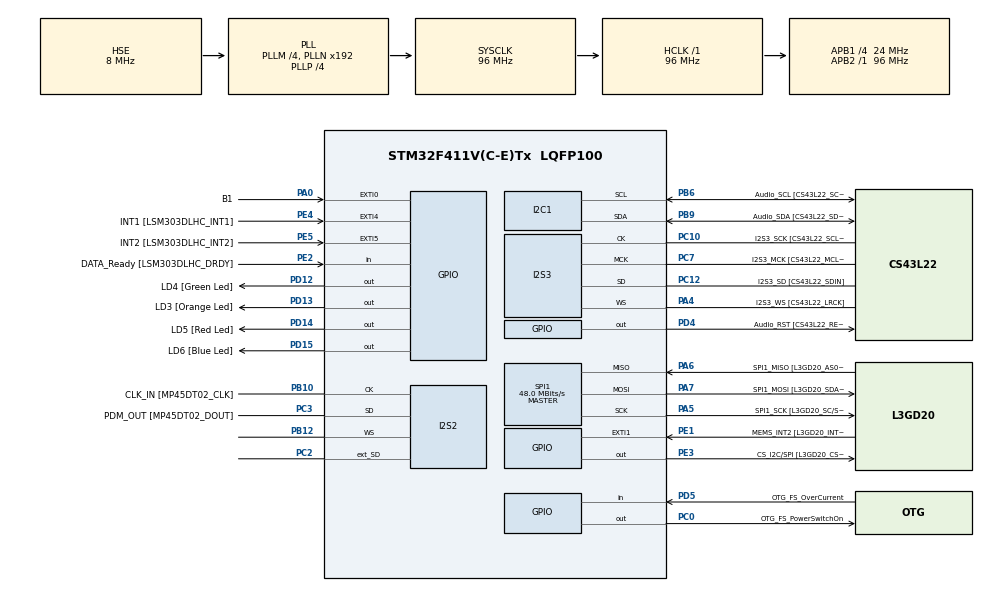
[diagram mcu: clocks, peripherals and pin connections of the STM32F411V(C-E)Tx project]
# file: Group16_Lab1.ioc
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I2S2.AudioFreq=I2S_AUDIOFREQ_96K
I2S2.ErrorAudioFreq=0.15 %
I2S2.FullDuplexMode=I2S_FULLDUPLEXMODE_ENABLE
I2S2.Instance=SPI$Index
I2S2.RealAudioFreq=96.153 KHz
I2S2.VirtualMode=I2S_MODE_MASTER
I2S3.AudioFreq=I2S_AUDIOFREQ_96K
I2S3.ErrorAudioFreq=-6.99 %
I2S3.FullDuplexMode=I2S_FULLDUPLEXMODE_DISABLE
I2S3.Instance=SPI$Index
I2S3.RealAudioFreq=89.285 KHz
I2S3.VirtualMode=I2S_MODE_MASTER
Mcu.Family=STM32F4
Mcu.Name=STM32F411V(C-E)Tx
Mcu.Package=LQFP100
NVIC.PriorityGroup=NVIC_PRIORITYGROUP_0
PA0-WKUP.GPIO_Label=B1
PA0-WKUP.GPIO_ModeDefaultEXTI=GPIO_MODE_EVT_RISING
PA0-WKUP.Signal=GPXTI0
PA10.GPIO_Label=OTG_FS_ID
PA10.Signal=USB_OTG_FS_ID
PA11.GPIO_Label=OTG_FS_DM
PA11.Signal=USB_OTG_FS_DM
PA12.GPIO_Label=OTG_FS_DP
PA12.Signal=USB_OTG_FS_DP
PA13.GPIO_Label=SWDIO
PA13.Mode=Serial_Wire
PA13.Signal=SYS_JTMS-SWDIO
PA14.GPIO_Label=SWCLK
PA14.Mode=Serial_Wire
PA14.Signal=SYS_JTCK-SWCLK
PA4.GPIO_Label=I2S3_WS [CS43L22_LRCK]
PA4.GPIO_Mode=GPIO_MODE_AF_PP
PA4.GPIO_PuPd=GPIO_NOPULL
PA4.GPIO_Speed=GPIO_SPEED_FREQ_LOW
PA4.Mode=Half_Duplex_Master
PA4.Signal=I2S3_WS
PA5.GPIO_Label=SPI1_SCK [L3GD20_SC/SPC]
PA5.Mode=Full_Duplex_Master
PA5.Signal=SPI1_SCK
PA6.GPIO_Label=SPI1_MISO [L3GD20_AS0/SDO]
PA6.Mode=Full_Duplex_Master
PA6.Signal=SPI1_MISO
PA7.GPIO_Label=SPI1_MOSI [L3GD20_SDA/SDI/SDO]
PA7.Mode=Full_Duplex_Master
PA7.Signal=SPI1_MOSI
PA9.GPIO_Label=VBUS_FS
PA9.Signal=USB_OTG_FS_VBUS
PB10.GPIO_Label=CLK_IN [MP45DT02_CLK]
PB10.Mode=Full_Duplex_Master
PB10.Signal=I2S2_CK
PB12.Mode=Full_Duplex_Master
PB12.Signal=I2S2_WS
PB3.GPIO_Label=SWO
PB3.Signal=SYS_JTDO-SWO
PB6.GPIO_Label=Audio_SCL [CS43L22_SCL]
PB6.GPIO_Mode=GPIO_MODE_AF_OD
PB6.GPIO_Pu=GPIO_PULLUP
PB6.GPIO_PuPd=GPIO_NOPULL
PB6.GPIO_Speed=GPIO_SPEED_FREQ_LOW
PB6.Mode=I2C
PB6.Signal=I2C1_SCL
PB9.GPIO_Label=Audio_SDA [CS43L22_SDA]
PB9.GPIO_Mode=GPIO_MODE_AF_OD
PB9.GPIO_Pu=GPIO_PULLUP
PB9.GPIO_PuPd=GPIO_NOPULL
PB9.GPIO_Speed=GPIO_SPEED_FREQ_LOW
PB9.Mode=I2C
PB9.Signal=I2C1_SDA
PC0.GPIO_Label=OTG_FS_PowerSwitchOn
PC0.PinState=GPIO_PIN_SET
PC0.Signal=GPIO_Output
PC10.GPIO_Label=I2S3_SCK [CS43L22_SCLK]
PC10.GPIO_Mode=GPIO_MODE_AF_PP
PC10.GPIO_PuPd=GPIO_NOPULL
PC10.GPIO_Speed=GPIO_SPEED_FREQ_LOW
PC10.Mode=Half_Duplex_Master
PC10.Signal=I2S3_CK
PC12.GPIO_Label=I2S3_SD [CS43L22_SDIN]
PC12.GPIO_Mode=GPIO_MODE_AF_PP
PC12.GPIO_PuPd=GPIO_NOPULL
PC12.GPIO_Speed=GPIO_SPEED_FREQ_LOW
PC12.Mode=Half_Duplex_Master
PC12.Signal=I2S3_SD
PC14-OSC32_IN.GPIO_Label=PC14-OSC32_IN
PC14-OSC32_IN.Mode=LSE-External-Oscillator
PC14-OSC32_IN.Signal=RCC_OSC32_IN
PC15-OSC32_OUT.GPIO_Label=PC15-OSC32_OUT
PC15-OSC32_OUT.Mode=LSE-External-Oscillator
PC15-OSC32_OUT.Signal=RCC_OSC32_OUT
PC2.Mode=Full_Duplex_Master
PC2.Signal=I2S2_ext_SD
PC3.GPIO_Label=PDM_OUT [MP45DT02_DOUT]
PC3.Mode=Full_Duplex_Master
PC3.Signal=I2S2_SD
PC7.GPIO_Label=I2S3_MCK [CS43L22_MCLK]
PC7.GPIO_Mode=GPIO_MODE_AF_PP
PC7.GPIO_PuPd=GPIO_NOPULL
PC7.GPIO_Speed=GPIO_SPEED_FREQ_LOW
PC7.Mode=Master_Clock_Activated
PC7.Signal=I2S3_MCK
PD12.GPIO_Label=LD4 [Green Led]
PD12.GPIO_PuPd=GPIO_NOPULL
PD12.GPIO_Speed=GPIO_SPEED_FREQ_LOW
PD12.Signal=GPIO_Output
PD13.GPIO_Label=LD3 [Orange Led]
PD13.GPIO_PuPd=GPIO_NOPULL
PD13.GPIO_Speed=GPIO_SPEED_FREQ_LOW
PD13.Signal=GPIO_Output
PD14.GPIO_Label=LD5 [Red Led]
PD14.GPIO_PuPd=GPIO_NOPULL
PD14.GPIO_Speed=GPIO_SPEED_FREQ_LOW
PD14.Signal=GPIO_Output
PD15.GPIO_Label=LD6 [Blue Led]
PD15.GPIO_PuPd=GPIO_NOPULL
PD15.GPIO_Speed=GPIO_SPEED_FREQ_LOW
PD15.Signal=GPIO_Output
PD4.GPIO_Label=Audio_RST [CS43L22_RESET]
PD4.Signal=GPIO_Output
PD5.GPIO_Label=OTG_FS_OverCurrent
PD5.Signal=GPIO_Input
PE1.GPIO_Label=MEMS_INT2 [L3GD20_INT2]
PE1.GPIO_ModeDefaultEXTI=GPIO_MODE_EVT_RISING
PE1.Signal=GPXTI1
PE2.GPIO_Label=DATA_Ready [LSM303DLHC_DRDY]
PE2.Signal=GPIO_Input
PE3.GPIO_Label=CS_I2C/SPI [L3GD20_CS_I2C/SPI]
PE3.Signal=GPIO_Output
PE4.GPIO_Label=INT1 [LSM303DLHC_INT1]
PE4.GPIO_ModeDefaultEXTI=GPIO_MODE_EVT_RISING
PE4.Signal=GPXTI4
PE5.GPIO_Label=INT2 [LSM303DLHC_INT2]
PE5.GPIO_ModeDefaultEXTI=GPIO_MODE_EVT_RISING
PE5.Signal=GPXTI5
PH0\ -\ OSC_IN.GPIO_Label=PH0-OSC_IN
PH0\ -\ OSC_IN.Mode=HSE-External-Oscillator
PH0\ -\ OSC_IN.Signal=RCC_OSC_IN
PH1\ -\ OSC_OUT.GPIO_Label=PH1-OSC_OUT
PH1\ -\ OSC_OUT.Mode=HSE-External-Oscillator
PH1\ -\ OSC_OUT.Signal=RCC_OSC_OUT
ProjectManager.HeapSize=0x200
ProjectManager.StackSize=0x400
ProjectManager.TargetToolchain=STM32CubeIDE
RCC.48MHZClocksFreq_Value=48000000
RCC.AHBFreq_Value=96000000
RCC.APB1CLKDivider=RCC_HCLK_DIV4
RCC.APB1Freq_Value=24000000
RCC.APB1TimFreq_Value=48000000
RCC.APB2Freq_Value=96000000
RCC.APB2TimFreq_Value=96000000
RCC.CortexFreq_Value=96000000
RCC.HCLKFreq_Value=96000000
RCC.HSE_VALUE=8000000
RCC.HSI_VALUE=16000000
RCC.PLLI2SM=5
RCC.PLLI2SN=200
RCC.PLLM=4
RCC.PLLP=RCC_PLLP_DIV4
RCC.PLLQ=8
RCC.PLLSourceVirtual=RCC_PLLSOURCE_HSE
RCC.SYSCLKFreq_VALUE=96000000
RCC.SYSCLKSource=RCC_SYSCLKSOURCE_PLLCLK
RCC.VCOOutputFreq_Value=384000000
SPI1.BaudRatePrescaler=SPI_BAUDRATEPRESCALER_2
SPI1.CalculateBaudRate=48.0 MBits/s
SPI1.Direction=SPI_DIRECTION_2LINES
SPI1.Mode=SPI_MODE_MASTER
SPI1.VirtualType=VM_MASTER
board=STM32F411E-DISCO

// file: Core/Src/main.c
/* USER CODE BEGIN Header */
/**
  ******************************************************************************
  * @file           : main.c
  * @brief          : Main program body
  ******************************************************************************
  * @attention
  *
  * Copyright (c) 2025 STMicroelectronics.
  * All rights reserved.
  *
  * This software is licensed under terms that can be found in the LICENSE file
  * in the root directory of this software component.
  * If no LICENSE file comes with this software, it is provided AS-IS.
  *
  ******************************************************************************
  */
/* USER CODE END Header */
#include "main.h"
#include "arm_math.h"

/* USER CODE BEGIN PD */
#define ITM_Port32(n) (*((volatile unsigned long *)(0xE0000000+4*n)))

#define FFT_Length 1024
/* USER CODE END PD */

I2C_HandleTypeDef hi2c1;

I2S_HandleTypeDef hi2s2;
I2S_HandleTypeDef hi2s3;

SPI_HandleTypeDef hspi1;

/* USER CODE BEGIN PV */
float32_t FFT_Input_Q15_f[50];
float32_t aFFT_Input_Q15[50];

/* USER CODE END PV */

void SystemClock_Config(void);
void PeriphCommonClock_Config(void);
static void MX_GPIO_Init(void);
static void MX_I2C1_Init(void);
static void MX_I2S2_Init(void);
static void MX_I2S3_Init(void);
static void MX_SPI1_Init(void);

int main(void)
{

  /* MCU Configuration--------------------------------------------------------*/

  /* Reset of all peripherals, Initializes the Flash interface and the Systick. */
  HAL_Init();

  /* Configure the system clock */
  SystemClock_Config();

/* Configure the peripherals common clocks */
  PeriphCommonClock_Config();

  /* Initialize all configured peripherals */
  MX_GPIO_Init();
  MX_I2C1_Init();
  MX_I2S2_Init();
  MX_I2S3_Init();
  MX_SPI1_Init();
  /* USER CODE BEGIN 2 */

  HAL_SuspendTick();
  printf(" Dominic Choi\nNathan Ante\nJan 30, 2025\nA Short Joke\n");

//  BasicLoopTest();

  /* USER CODE END 2 */

  /* Infinite loop */
  /* USER CODE BEGIN WHILE */
  while (1)
  {

	ITM_Port32(31) = 1;
  // FloatingExperiment();
  // FixedExperiment();
  CMSISExperiment();
	ITM_Port32(31) = 2;

    /* USER CODE END WHILE */

  }
}

void SystemClock_Config(void)
{
  RCC_OscInitTypeDef RCC_OscInitStruct = {0};
  RCC_ClkInitTypeDef RCC_ClkInitStruct = {0};

  /** Configure the main internal regulator output voltage
  */
  __HAL_RCC_PWR_CLK_ENABLE();
  __HAL_PWR_VOLTAGESCALING_CONFIG(PWR_REGULATOR_VOLTAGE_SCALE1);

  /** Initializes the RCC Oscillators according to the specified parameters
  * in the RCC_OscInitTypeDef structure.
  */
  RCC_OscInitStruct.OscillatorType = RCC_OSCILLATORTYPE_HSE;
  RCC_OscInitStruct.HSEState = RCC_HSE_ON;
  RCC_OscInitStruct.PLL.PLLState = RCC_PLL_ON;
  RCC_OscInitStruct.PLL.PLLSource = RCC_PLLSOURCE_HSE;
  RCC_OscInitStruct.PLL.PLLM = 4;
  RCC_OscInitStruct.PLL.PLLN = 192;
  RCC_OscInitStruct.PLL.PLLP = RCC_PLLP_DIV4;
  RCC_OscInitStruct.PLL.PLLQ = 8;
  if (HAL_RCC_OscConfig(&RCC_OscInitStruct) != HAL_OK)
  {
    Error_Handler();
  }

  /** Initializes the CPU, AHB and APB buses clocks
  */
  RCC_ClkInitStruct.ClockType = RCC_CLOCKTYPE_HCLK|RCC_CLOCKTYPE_SYSCLK
                              |RCC_CLOCKTYPE_PCLK1|RCC_CLOCKTYPE_PCLK2;
  RCC_ClkInitStruct.SYSCLKSource = RCC_SYSCLKSOURCE_PLLCLK;
  RCC_ClkInitStruct.AHBCLKDivider = RCC_SYSCLK_DIV1;
  RCC_ClkInitStruct.APB1CLKDivider = RCC_HCLK_DIV4;
  RCC_ClkInitStruct.APB2CLKDivider = RCC_HCLK_DIV1;

  if (HAL_RCC_ClockConfig(&RCC_ClkInitStruct, FLASH_LATENCY_3) != HAL_OK)
  {
    Error_Handler();
  }
}

void PeriphCommonClock_Config(void)
{
  RCC_PeriphCLKInitTypeDef PeriphClkInitStruct = {0};

  /** Initializes the peripherals clock
  */
  PeriphClkInitStruct.PeriphClockSelection = RCC_PERIPHCLK_I2S;
  PeriphClkInitStruct.PLLI2S.PLLI2SN = 200;
  PeriphClkInitStruct.PLLI2S.PLLI2SM = 5;
  PeriphClkInitStruct.PLLI2S.PLLI2SR = 2;
  if (HAL_RCCEx_PeriphCLKConfig(&PeriphClkInitStruct) != HAL_OK)
  {
    Error_Handler();
  }
}

static void MX_I2C1_Init(void)
{

  hi2c1.Instance = I2C1;
  hi2c1.Init.ClockSpeed = 100000;
  hi2c1.Init.DutyCycle = I2C_DUTYCYCLE_2;
  hi2c1.Init.OwnAddress1 = 0;
  hi2c1.Init.AddressingMode = I2C_ADDRESSINGMODE_7BIT;
  hi2c1.Init.DualAddressMode = I2C_DUALADDRESS_DISABLE;
  hi2c1.Init.OwnAddress2 = 0;
  hi2c1.Init.GeneralCallMode = I2C_GENERALCALL_DISABLE;
  hi2c1.Init.NoStretchMode = I2C_NOSTRETCH_DISABLE;
  if (HAL_I2C_Init(&hi2c1) != HAL_OK)
  {
    Error_Handler();
  }

}

static void MX_I2S2_Init(void)
{

  hi2s2.Instance = SPI2;
  hi2s2.Init.Mode = I2S_MODE_MASTER_TX;
  hi2s2.Init.Standard = I2S_STANDARD_PHILIPS;
  hi2s2.Init.DataFormat = I2S_DATAFORMAT_16B;
  hi2s2.Init.MCLKOutput = I2S_MCLKOUTPUT_DISABLE;
  hi2s2.Init.AudioFreq = I2S_AUDIOFREQ_96K;
  hi2s2.Init.CPOL = I2S_CPOL_LOW;
  hi2s2.Init.ClockSource = I2S_CLOCK_PLL;
  hi2s2.Init.FullDuplexMode = I2S_FULLDUPLEXMODE_ENABLE;
  if (HAL_I2S_Init(&hi2s2) != HAL_OK)
  {
    Error_Handler();
  }

}

static void MX_I2S3_Init(void)
{

  hi2s3.Instance = SPI3;
  hi2s3.Init.Mode = I2S_MODE_MASTER_TX;
  hi2s3.Init.Standard = I2S_STANDARD_PHILIPS;
  hi2s3.Init.DataFormat = I2S_DATAFORMAT_16B;
  hi2s3.Init.MCLKOutput = I2S_MCLKOUTPUT_ENABLE;
  hi2s3.Init.AudioFreq = I2S_AUDIOFREQ_96K;
  hi2s3.Init.CPOL = I2S_CPOL_LOW;
  hi2s3.Init.ClockSource = I2S_CLOCK_PLL;
  hi2s3.Init.FullDuplexMode = I2S_FULLDUPLEXMODE_DISABLE;
  if (HAL_I2S_Init(&hi2s3) != HAL_OK)
  {
    Error_Handler();
  }

}

static void MX_SPI1_Init(void)
{

  /* SPI1 parameter configuration*/
  hspi1.Instance = SPI1;
  hspi1.Init.Mode = SPI_MODE_MASTER;
  hspi1.Init.Direction = SPI_DIRECTION_2LINES;
  hspi1.Init.DataSize = SPI_DATASIZE_8BIT;
  hspi1.Init.CLKPolarity = SPI_POLARITY_LOW;
  hspi1.Init.CLKPhase = SPI_PHASE_1EDGE;
  hspi1.Init.NSS = SPI_NSS_SOFT;
  hspi1.Init.BaudRatePrescaler = SPI_BAUDRATEPRESCALER_2;
  hspi1.Init.FirstBit = SPI_FIRSTBIT_MSB;
  hspi1.Init.TIMode = SPI_TIMODE_DISABLE;
  hspi1.Init.CRCCalculation = SPI_CRCCALCULATION_DISABLE;
  hspi1.Init.CRCPolynomial = 10;
  if (HAL_SPI_Init(&hspi1) != HAL_OK)
  {
    Error_Handler();
  }

}

static void MX_GPIO_Init(void)
{
  GPIO_InitTypeDef GPIO_InitStruct = {0};

  /* GPIO Ports Clock Enable */
  __HAL_RCC_GPIOE_CLK_ENABLE();
  __HAL_RCC_GPIOC_CLK_ENABLE();
  __HAL_RCC_GPIOH_CLK_ENABLE();
  __HAL_RCC_GPIOA_CLK_ENABLE();
  __HAL_RCC_GPIOB_CLK_ENABLE();
  __HAL_RCC_GPIOD_CLK_ENABLE();

  /*Configure GPIO pin Output Level */
  HAL_GPIO_WritePin(CS_I2C_SPI_GPIO_Port, CS_I2C_SPI_Pin, GPIO_PIN_RESET);

  /*Configure GPIO pin Output Level */
  HAL_GPIO_WritePin(OTG_FS_PowerSwitchOn_GPIO_Port, OTG_FS_PowerSwitchOn_Pin, GPIO_PIN_SET);

  /*Configure GPIO pin Output Level */
  HAL_GPIO_WritePin(GPIOD, LD4_Pin|LD3_Pin|LD5_Pin|LD6_Pin
                          |Audio_RST_Pin, GPIO_PIN_RESET);

  /*Configure GPIO pin : DATA_Ready_Pin */
  GPIO_InitStruct.Pin = DATA_Ready_Pin;
  GPIO_InitStruct.Mode = GPIO_MODE_INPUT;
  GPIO_InitStruct.Pull = GPIO_NOPULL;
  HAL_GPIO_Init(DATA_Ready_GPIO_Port, &GPIO_InitStruct);

  /*Configure GPIO pin : CS_I2C_SPI_Pin */
  GPIO_InitStruct.Pin = CS_I2C_SPI_Pin;
  GPIO_InitStruct.Mode = GPIO_MODE_OUTPUT_PP;
  GPIO_InitStruct.Pull = GPIO_NOPULL;
  GPIO_InitStruct.Speed = GPIO_SPEED_FREQ_LOW;
  HAL_GPIO_Init(CS_I2C_SPI_GPIO_Port, &GPIO_InitStruct);

  /*Configure GPIO pins : INT1_Pin INT2_Pin MEMS_INT2_Pin */
  GPIO_InitStruct.Pin = INT1_Pin|INT2_Pin|MEMS_INT2_Pin;
  GPIO_InitStruct.Mode = GPIO_MODE_EVT_RISING;
  GPIO_InitStruct.Pull = GPIO_NOPULL;
  HAL_GPIO_Init(GPIOE, &GPIO_InitStruct);

  /*Configure GPIO pin : OTG_FS_PowerSwitchOn_Pin */
  GPIO_InitStruct.Pin = OTG_FS_PowerSwitchOn_Pin;
  GPIO_InitStruct.Mode = GPIO_MODE_OUTPUT_PP;
  GPIO_InitStruct.Pull = GPIO_NOPULL;
  GPIO_InitStruct.Speed = GPIO_SPEED_FREQ_LOW;
  HAL_GPIO_Init(OTG_FS_PowerSwitchOn_GPIO_Port, &GPIO_InitStruct);

  /*Configure GPIO pin : B1_Pin */
  GPIO_InitStruct.Pin = B1_Pin;
  GPIO_InitStruct.Mode = GPIO_MODE_EVT_RISING;
  GPIO_InitStruct.Pull = GPIO_NOPULL;
  HAL_GPIO_Init(B1_GPIO_Port, &GPIO_InitStruct);

  /*Configure GPIO pins : LD4_Pin LD3_Pin LD5_Pin LD6_Pin
                           Audio_RST_Pin */
  GPIO_InitStruct.Pin = LD4_Pin|LD3_Pin|LD5_Pin|LD6_Pin
                          |Audio_RST_Pin;
  GPIO_InitStruct.Mode = GPIO_MODE_OUTPUT_PP;
  GPIO_InitStruct.Pull = GPIO_NOPULL;
  GPIO_InitStruct.Speed = GPIO_SPEED_FREQ_LOW;
  HAL_GPIO_Init(GPIOD, &GPIO_InitStruct);

  /*Configure GPIO pin : VBUS_FS_Pin */
  GPIO_InitStruct.Pin = VBUS_FS_Pin;
  GPIO_InitStruct.Mode = GPIO_MODE_INPUT;
  GPIO_InitStruct.Pull = GPIO_NOPULL;
  HAL_GPIO_Init(VBUS_FS_GPIO_Port, &GPIO_InitStruct);

  /*Configure GPIO pins : OTG_FS_ID_Pin OTG_FS_DM_Pin OTG_FS_DP_Pin */
  GPIO_InitStruct.Pin = OTG_FS_ID_Pin|OTG_FS_DM_Pin|OTG_FS_DP_Pin;
  GPIO_InitStruct.Mode = GPIO_MODE_AF_PP;
  GPIO_InitStruct.Pull = GPIO_NOPULL;
  GPIO_InitStruct.Speed = GPIO_SPEED_FREQ_VERY_HIGH;
  GPIO_InitStruct.Alternate = GPIO_AF10_OTG_FS;
  HAL_GPIO_Init(GPIOA, &GPIO_InitStruct);

  /*Configure GPIO pin : OTG_FS_OverCurrent_Pin */
  GPIO_InitStruct.Pin = OTG_FS_OverCurrent_Pin;
  GPIO_InitStruct.Mode = GPIO_MODE_INPUT;
  GPIO_InitStruct.Pull = GPIO_NOPULL;
  HAL_GPIO_Init(OTG_FS_OverCurrent_GPIO_Port, &GPIO_InitStruct);

}

/* USER CODE BEGIN 4 */
int _write(int file, char* ptr, int len) {
	int DataIdx;
	for (DataIdx = 0; DataIdx < len; DataIdx++) {
		ITM_SendChar(*ptr++);
	}
	return len;
}

void BasicLoopTest(void){
	int i = 0;
	while( i < 2000000){
		i++;
	}

	return;
}

void FloatingExperiment(void){
	float a = 0.51;
	float b = 0.1251;
	float c = a * b;
}

void FixedExperiment(void){
	int16_t a = 16384;
	int16_t b = 4096;
	int16_t c = a * b;
}

void CMSISExperiment(void){
	float a[10] = {-0.11, -0.12, -0.13, -0.14, 0.15, 0.16, 0.17, 0.18, 0.19, 1.20};
	q15_t b[10];
	float32_t c[10];

	arm_float_to_q15(a, b, 10);
	arm_q15_to_float(b, c, 10);

}

/* USER CODE END 4 */

void Error_Handler(void)
{
  __disable_irq();
  while (1)
  {
  }
}
